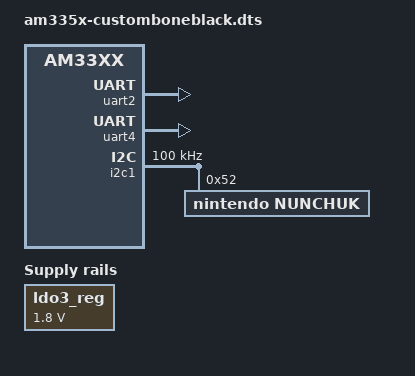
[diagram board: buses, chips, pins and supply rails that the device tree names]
/*
 * Copyright (C) 2012 Texas Instruments Incorporated - http://www.ti.com/
 *
 * This program is free software; you can redistribute it and/or modify
 * it under the terms of the GNU General Public License version 2 as
 * published by the Free Software Foundation.
 */
/dts-v1/;

#include "am33xx.dtsi"
#include "am335x-bone-common.dtsi"

/ {
	am33xx_pinmux: pinmux@44e10800 {
		uart2_pins: uart2_pins {
			pinctrl-single,pins = <
				0x154 (PIN_OUTPUT_PULLDOWN | MUX_MODE1)
				0x150 (PIN_INPUT_PULLUP | MUX_MODE1)
			>;
		};

		uart4_pins: uart4_pins {
			pinctrl-single,pins = <
				0x74 (PIN_OUTPUT_PULLDOWN | MUX_MODE6)
				0x70 (PIN_INPUT_PULLUP | MUX_MODE6)
			>;
		};

		i2c1_pins: pinmux_i2c1_pins {
			pinctrl-single,pins = <
				0x158 (PIN_INPUT_PULLUP | MUX_MODE2)
				0x15c (PIN_INPUT_PULLUP | MUX_MODE2)
			>;
		};
	};
};

&ldo3_reg {
	regulator-min-microvolt = <1800000>;
	regulator-max-microvolt = <1800000>;
	regulator-always-on;
};

&uart2 {
	compatible = "free-electrons,serial";
	status = "okay";
	pinctrl-names = "default";
	pinctrl-0 = <&uart2_pins>;
};

&uart4 {
	compatible = "free-electrons,serial";
	status = "okay";
	pinctrl-names = "default";
	pinctrl-0 = <&uart4_pins>;
};

&i2c1 {
	status = "okay";
	clock-frequency = <100000>;
	pinctrl-names = "default";
	pinctrl-0 = <&i2c1_pins>;

	nunchuk: nunchuk@52{
		compatible = "nintendo,nunchuk";
		reg = <0x52>;
	};
};
